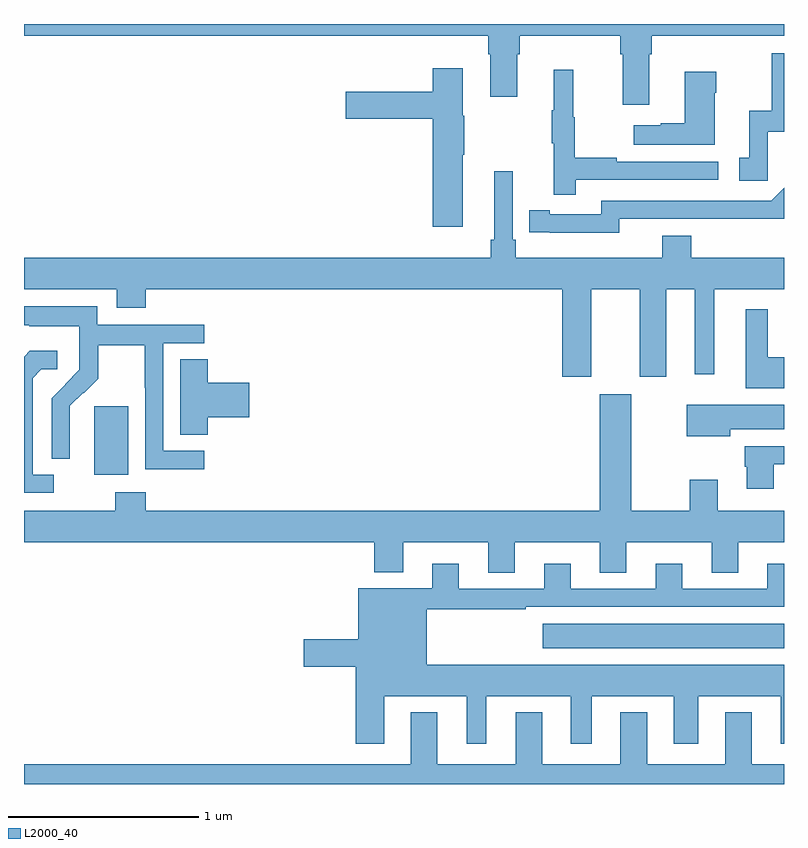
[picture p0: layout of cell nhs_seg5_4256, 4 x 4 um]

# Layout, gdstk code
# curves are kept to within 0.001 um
import gdstk
lib = gdstk.Library(unit=1e-6, precision=1e-09)
def R(c, l, rs):  # rectangles x0, y0, x1, y1
    for r in rs: c.add(gdstk.rectangle(r[:2], r[2:], *l))
def P(c, l, *ps):  # polygons
    for p in ps: c.add(gdstk.Polygon(p, *l))
L2000_40 = (2000, 40)

nhs_seg5_4256 = lib.new_cell('nhs_seg5_4256')
R(nhs_seg5_4256, L2000_40, [(363.729,877.514,365,877.642), (361.37,878.426,361.549,878.787)])
P(nhs_seg5_4256, L2000_40, [(364.291,880.64),(364.304,880.64),(364.304,880.736),(365,880.736),(365,880.799),(361,880.799),(361,880.736),(363.443,880.736),(363.443,880.64),(363.455,880.64),(363.455,880.416),(363.595,880.416),(363.595,880.64),(363.608,880.64),(363.608,880.736),(364.139,880.736),(364.139,880.64),(364.151,880.64),(364.151,880.374),(364.291,880.374)],
  [(364.914,880.233),(365,880.233),(365,880.644),(364.935,880.644),(364.935,880.342),(364.817,880.342),(364.817,880.095),(364.764,880.095),(364.764,879.975),(364.914,879.975)],
  [(363.31,880.111),(363.318,880.111),(363.318,880.317),(363.31,880.317),(363.31,880.567),(363.152,880.567),(363.152,880.443),(362.694,880.443),(362.694,880.301),(363.152,880.301),(363.152,879.732),(363.31,879.732)],
  [(363.905,879.978),(364.654,879.978),(364.654,880.074),(364.121,880.074),(364.121,880.094),(363.898,880.094),(363.898,880.308),(363.89,880.308),(363.89,880.558),(363.788,880.558),(363.788,880.345),(363.777,880.345),(363.777,880.171),(363.788,880.171),(363.788,879.9),(363.905,879.9)],
  [(364.636,880.436),(364.644,880.436),(364.644,880.549),(364.478,880.549),(364.478,880.277),(364.352,880.277),(364.352,880.267),(364.209,880.267),(364.209,880.163),(364.636,880.163)],
  [(363.985,879.404),(364.241,879.404),(364.241,878.943),(364.381,878.943),(364.381,879.404),(364.529,879.404),(364.529,878.955),(364.633,878.955),(364.633,879.404),(365,879.404),(365,879.568),(364.511,879.568),(364.511,879.685),(364.358,879.685),(364.358,879.568),(363.587,879.568),(363.587,879.664),(363.573,879.664),(363.573,880.024),(363.476,880.024),(363.476,879.664),(363.457,879.664),(363.457,879.568),(361,879.568),(361,879.404),(361.487,879.404),(361.487,879.305),(361.64,879.305),(361.64,879.404),(363.833,879.404),(363.833,878.943),(363.985,878.943)],
  [(364.134,879.774),(365,879.773),(365,879.938),(364.932,879.87),(364.038,879.87),(364.038,879.798),(363.766,879.798),(363.766,879.818),(363.658,879.818),(363.658,879.702),(364.134,879.701)],
  [(361.948,878.553),(361.734,878.553),(361.734,879.12),(361.948,879.12),(361.948,879.216),(361.386,879.216),(361.386,879.313),(361,879.313),(361,879.213),(361.027,879.213),(361.027,879.209),(361.29,879.209),(361.29,879.075),(361.292,879.075),(361.292,878.978),(361.146,878.83),(361.146,878.512),(361.242,878.512),(361.241,878.789),(361.311,878.859),(361.314,878.856),(361.391,878.933),(361.391,879.108),(361.636,879.108),(361.636,878.884),(361.638,878.884),(361.638,878.455),(361.948,878.455)],
  [(365,879.046),(364.915,879.046),(364.915,879.298),(364.799,879.298),(364.799,878.882),(365,878.882)],
  [(361.156,878.427),(361.045,878.427),(361.045,878.935),(361.092,878.982),(361.174,878.982),(361.174,879.079),(361.03,879.079),(361,879.049),(361,878.331),(361.156,878.331)],
  [(361.967,878.729),(362.185,878.729),(362.185,878.912),(361.967,878.912),(361.967,879.035),(361.823,879.035),(361.823,878.638),(361.967,878.638)],
  [(363.583,878.072),(364.031,878.072),(364.031,877.912),(364.171,877.912),(364.171,878.072),(364.619,878.072),(364.619,877.912),(364.759,877.912),(364.759,878.072),(365,878.072),(365,878.236),(364.651,878.236),(364.651,878.401),(364.504,878.401),(364.504,878.236),(364.195,878.236),(364.195,878.851),(364.031,878.851),(364.031,878.236),(361.64,878.236),(361.64,878.335),(361.48,878.335),(361.48,878.236),(361,878.236),(361,878.072),(362.843,878.072),(362.843,877.913),(362.995,877.913),(362.995,878.072),(363.443,878.072),(363.443,877.912),(363.583,877.912)],
  [(364.717,878.666),(365,878.666),(365,878.794),(364.488,878.794),(364.488,878.63),(364.717,878.63)],
  [(364.945,878.481),(365,878.481),(365,878.577),(364.793,878.577),(364.793,878.469),(364.805,878.469),(364.805,878.352),(364.945,878.352)],
  [(362.896,877.262),(363.329,877.262),(363.329,877.011),(363.433,877.011),(363.433,877.262),(363.878,877.262),(363.878,877.011),(363.988,877.011),(363.988,877.262),(364.421,877.262),(364.421,877.011),(364.549,877.011),(364.549,877.262),(364.982,877.262),(364.982,877.011),(365,877.011),(365,877.426),(363.121,877.426),(363.121,877.719),(363.641,877.719),(363.641,877.731),(365,877.731),(365,877.957),(364.913,877.957),(364.913,877.827),(364.465,877.827),(364.465,877.957),(364.325,877.957),(364.325,877.827),(363.877,877.827),(363.877,877.957),(363.737,877.957),(363.737,877.827),(363.289,877.827),(363.289,877.957),(363.149,877.957),(363.149,877.828),(362.759,877.828),(362.759,877.562),(362.472,877.562),(362.472,877.415),(362.747,877.415),(362.747,877.011),(362.896,877.011)],
  [(365,876.904),(364.831,876.904),(364.831,877.177),(364.691,877.177),(364.691,876.904),(364.279,876.904),(364.279,877.177),(364.139,877.177),(364.139,876.904),(363.727,876.904),(363.727,877.177),(363.587,877.177),(363.587,876.904),(363.175,876.904),(363.175,877.177),(363.035,877.177),(363.035,876.904),(361,876.904),(361,876.799),(365,876.799)])

lib.write_gds('nhs_seg5_4256.gds')
